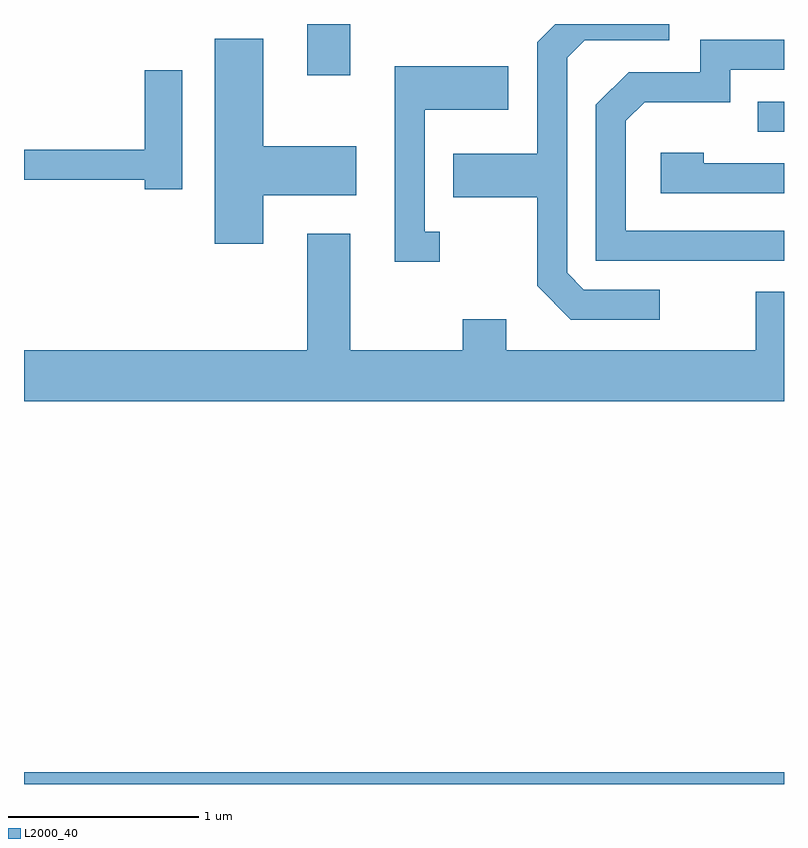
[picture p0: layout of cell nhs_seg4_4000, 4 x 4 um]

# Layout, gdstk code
import gdstk
lib = gdstk.Library(unit=1e-6, precision=1e-09)
def R(c, l, rs):  # rectangles x0, y0, x1, y1
    for r in rs: c.add(gdstk.rectangle(r[:2], r[2:], *l))
def P(c, l, *ps):  # polygons
    for p in ps: c.add(gdstk.Polygon(p, *l))
L2000_40 = (2000, 40)

nhs_seg4_4000 = lib.new_cell('nhs_seg4_4000')
R(nhs_seg4_4000, L2000_40, [(301.611,1365.982,305.611,1366.044), (305.473,1369.416,305.611,1369.574), (303.101,1369.711,303.329,1369.982)])
P(nhs_seg4_4000, L2000_40, [(304.958,1368.584),(304.557,1368.584),(304.469,1368.672),(304.469,1369.804),(304.562,1369.896),(305.008,1369.896),(305.008,1369.982),(304.407,1369.982),(304.311,1369.887),(304.311,1369.299),(303.871,1369.299),(303.871,1369.071),(304.311,1369.071),(304.311,1368.604),(304.489,1368.426),(304.958,1368.426)],
  [(302.869,1369.081),(303.359,1369.081),(303.359,1369.339),(302.869,1369.339),(302.869,1369.904),(302.616,1369.904),(302.616,1368.826),(302.869,1368.826)],
  [(305.611,1368.894),(304.779,1368.894),(304.779,1369.474),(304.877,1369.571),(305.329,1369.571),(305.329,1369.741),(305.611,1369.741),(305.611,1369.899),(305.171,1369.899),(305.171,1369.729),(304.794,1369.729),(304.621,1369.557),(304.621,1368.736),(305.611,1368.736)],
  [(303.798,1368.889),(303.719,1368.889),(303.719,1369.531),(304.159,1369.531),(304.159,1369.759),(303.561,1369.759),(303.561,1368.731),(303.798,1368.731)],
  [(302.444,1369.739),(302.246,1369.739),(302.246,1369.319),(301.611,1369.319),(301.611,1369.161),(302.246,1369.161),(302.246,1369.111),(302.444,1369.111)],
  [(305.611,1369.249),(305.189,1369.249),(305.189,1369.304),(304.961,1369.304),(304.961,1369.091),(305.611,1369.091)],
  [(303.921,1368.429),(303.921,1368.264),(303.329,1368.264),(303.329,1368.879),(303.101,1368.879),(303.101,1368.264),(301.611,1368.264),(301.611,1367.996),(305.611,1367.996),(305.611,1368.574),(305.461,1368.574),(305.461,1368.264),(304.149,1368.264),(304.149,1368.429)])

lib.write_gds('nhs_seg4_4000.gds')
